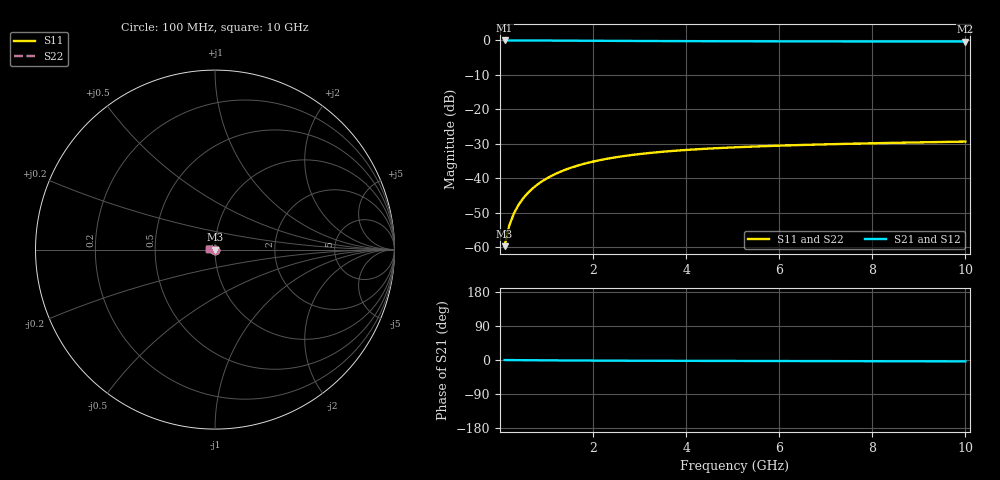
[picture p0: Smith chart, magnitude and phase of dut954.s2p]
! Touchstone file exported from HFSS 2024.1.0
!  File:  C:/UserFiles/LocalFiles/RDL_TSV_Batchsim/temp_TSV1_954_1779949353.aedt
!  Generated:  02:29:53 PM May 28, 2026
!  Design:  TSV1
!  Project:  temp_TSV1_954_1779949353
!  Setup:  Setup1
!  Solution:  Sweep
! Variables:
!  dtsv = 13.77um
!  hbump = 3um
!  htsv = 51.34um
!  lrdl = 252.1521522um
!  p = 40
!  p1 = 59.96um
!  t = 500um
!  trdl = 3um
!  wrdl = 24.89489489um
# GHz S MA R 50.000000
! Terminal data exported
! Port[1] = TSV22_T1
! Port[2] = TSV22_T2
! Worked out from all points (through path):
!   100 points, 100 MHz to 10 GHz, reference 50 ohm
!   highest |S21| = 0.00 dB at 100 MHz (marker M1); lowest = -0.3 dB at 10 GHz (marker M2)
!   lowest |S11| = -59.7 dB at 100 MHz (marker M3), VSWR 1.00, Z = 50 - j0.104 ohm
!   |S11| at or under -10 dB: start of sweep to end of sweep
!   |S22| runs from -59.7 to -29.3 dB; largest |S21 - S12| = 7.5e-15
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0.1  0.001037 -88.5  0.9999 -0.1  0.9999 -0.1  0.001037 -88.5
! Gamma 0 0 0 0
! Port Impedance 50 0 50 0
0.2  0.002071 -92.2  0.9998 -0.2  0.9998 -0.2  0.002071 -92.2
0.3  0.003103 -94.8  0.9996 -0.3  0.9996 -0.3  0.003103 -94.8
0.4  0.004128 -97.2  0.9993 -0.4  0.9993 -0.4  0.004128 -97.2
0.5  0.005142 -99.4  0.9989 -0.5  0.9989 -0.5  0.005142 -99.4
0.6  0.00614 -101.6  0.9985 -0.6  0.9985 -0.6  0.00614 -101.6
0.7  0.007119 -103.7  0.9981 -0.7  0.9981 -0.7  0.007119 -103.7
0.8  0.008077 -105.8  0.9975 -0.8  0.9975 -0.8  0.008077 -105.8
0.9  0.009011 -107.8  0.997 -0.8  0.997 -0.8  0.009011 -107.8
1.1  0.0108 -111.7  0.9957 -1.0  0.9957 -1.0  0.0108 -111.7
1.4  0.01328 -117.3  0.9937 -1.2  0.9937 -1.2  0.01328 -117.3
1.6  0.01479 -120.7  0.9922 -1.3  0.9922 -1.3  0.01479 -120.7
1.8  0.01619 -124.0  0.9907 -1.5  0.9907 -1.5  0.01619 -124.0
2.1  0.01808 -128.6  0.9885 -1.6  0.9885 -1.6  0.01808 -128.6
2.5  0.02025 -134.2  0.9857 -1.8  0.9857 -1.8  0.02025 -134.2
2.9  0.02207 -139.1  0.9831 -1.9  0.9831 -1.9  0.02207 -139.1
3.4  0.02396 -144.6  0.9802 -2.1  0.9802 -2.1  0.02396 -144.6
4.2  0.0263 -152.1  0.9764 -2.3  0.9764 -2.3  0.0263 -152.1
5.1  0.02826 -159.1  0.9732 -2.5  0.9732 -2.5  0.02826 -159.1
6.7  0.03074 -169.1  0.9692 -2.9  0.9692 -2.9  0.03074 -169.1
8.4  0.03263 -177.5  0.9664 -3.3  0.9664 -3.3  0.03263 -177.5
10  0.0341 175.9  0.9647 -3.6  0.9647 -3.6  0.0341 175.9
